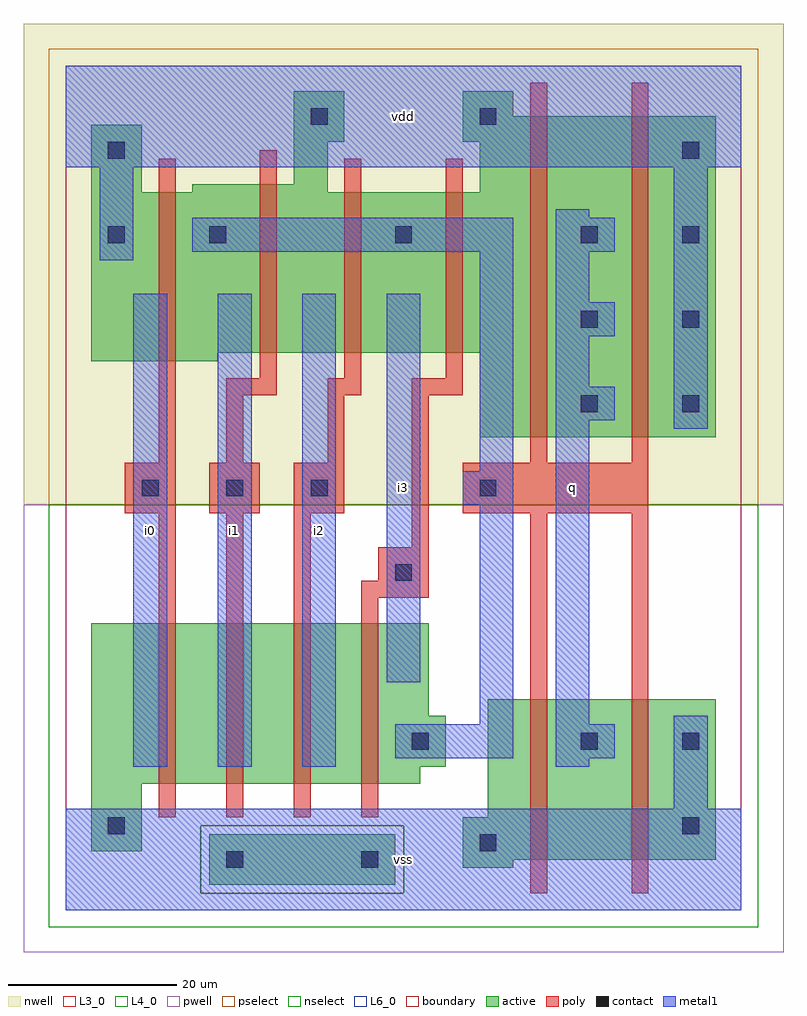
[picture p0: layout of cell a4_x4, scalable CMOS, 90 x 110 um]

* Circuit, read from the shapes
.subckt a4_x4 i0 i1 i2 i3 q vdd vss
M1 n1 i0 vss vss nfet w=19u l=2u
M2 n2 i1 n1 vss nfet w=19u l=2u
M3 n3 i2 n2 vss nfet w=19u l=2u
M4 n4 i3 n3 vss nfet w=19u l=2u
M5 q n4 vss vss nfet w=19u l=2u m=2
M6 n4 i0 vdd n5 pfet w=20u l=2u
M7 vdd i1 n4 n5 pfet w=20u l=2u
M8 n4 i2 vdd n5 pfet w=19u l=2u
M9 vdd i3 n4 n5 pfet w=19u l=2u
M10 q n4 vdd n5 pfet w=38u l=2u m=2
.ends

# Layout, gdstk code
import gdstk
lib = gdstk.Library(unit=1e-6, precision=1e-09)
def R(c, l, rs):  # rectangles x0, y0, x1, y1
    for r in rs: c.add(gdstk.rectangle(r[:2], r[2:], *l))
def A(c, l, x, y, w, h, nx, ny, dx, dy):  # array of equal rectangles
    R(c, l, [(x+i*dx, y+j*dy, x+i*dx+w, y+j*dy+h) for i in range(nx) for j in range(ny)])
L3_0 = (3, 0)
L4_0 = (4, 0)
L6_0 = (6, 0)
contact = (25, 0)
pwell = (41, 0)
nwell = (42, 0)
active = (43, 0)
pselect = (44, 0)
nselect = (45, 0)
poly = (46, 0)
metal1 = (49, 0)
boundary = (63, 0)

a4_x4 = lib.new_cell('a4_x4')
R(a4_x4, L3_0, [(47,5,53,6), (47,6,77,11), (3,7,9,15), (50,11,77,25), (3,15,42,17), (3,17,45,23), (3,23,43,34)])
R(a4_x4, L4_0, [(49,56,77,66), (3,65,18,66), (3,66,77,85), (3,85,9,93), (15,85,31,86), (49,85,77,91), (27,86,31,91), (27,91,33,97), (47,91,77,94), (47,94,53,97)])
R(a4_x4, L6_0, [(17,3,39,9)])
A(a4_x4, contact, 9, 49, 2, 2, 3, 1, 10, 0)
A(a4_x4, contact, 73, 59, 2, 2, 1, 4, 0, 10)
A(a4_x4, contact, 17, 79, 2, 2, 3, 1, 22, 0)
R(a4_x4, contact, [(19,5,21,7), (35,5,37,7), (49,7,51,9), (5,9,7,11), (73,9,75,11), (41,19,43,21), (61,19,63,21), (73,19,75,21), (39,39,41,41), (49,49,51,51), (61,59,63,61), (61,69,63,71), (5,79,7,81), (5,89,7,91), (29,93,31,95), (49,93,51,95)])
R(a4_x4, pwell, [(-5,-5,85,48)])
R(a4_x4, nwell, [(-5,48,85,105)])
R(a4_x4, active, [(17,3,39,9), (47,5,53,6), (47,6,77,11), (3,7,9,15), (50,11,77,25), (3,15,42,17), (3,17,45,23), (3,23,43,34), (49,56,77,66), (3,65,18,66), (3,66,77,85), (3,85,9,93), (15,85,31,86), (49,85,77,91), (27,86,31,91), (27,91,33,97), (47,91,77,94), (47,94,53,97)])
R(a4_x4, pselect, [(16,2,40,10), (-2,48,82,102)])
R(a4_x4, nselect, [(-2,-2,82,2), (-2,2,16,10), (40,2,82,10), (-2,10,82,48)])
A(a4_x4, poly, 11, 11, 2, 36, 3, 1, 8, 0)
A(a4_x4, poly, 7, 47, 6, 6, 3, 1, 10, 0)
R(a4_x4, poly, [(55,2,57,47), (67,2,69,47), (35,11,37,37), (35,37,43,39), (37,39,43,43), (41,43,43,61), (47,47,69,53), (11,53,13,89), (19,53,21,61), (31,53,33,61), (55,53,57,98), (67,53,69,98), (19,61,25,63), (31,61,35,63), (41,61,47,63), (23,63,25,90), (33,63,35,89), (45,63,47,89)])
A(a4_x4, metal1, 8, 17, 4, 56, 3, 1, 10, 0)
A(a4_x4, metal1, 58, 58, 7, 4, 1, 3, 0, 10)
R(a4_x4, metal1, [(0,0,80,12), (72,12,76,23), (58,17,62,18), (39,18,53,22), (58,18,65,22), (49,22,53,48), (58,22,62,58), (38,27,42,73), (47,48,53,52), (49,52,53,78), (72,57,76,88), (58,62,62,68), (58,72,62,78), (4,77,8,88), (15,78,53,82), (58,82,62,83), (0,88,80,100)])
R(a4_x4, boundary, [(0,0,80,100)])
a4_x4.add(gdstk.Label('i0', (10,45), layer=49, texttype=0))
a4_x4.add(gdstk.Label('i1', (20,45), layer=49, texttype=0))
a4_x4.add(gdstk.Label('i2', (30,45), layer=49, texttype=0))
a4_x4.add(gdstk.Label('vss', (40,6), layer=49, texttype=0))
a4_x4.add(gdstk.Label('i3', (40,50), layer=49, texttype=0))
a4_x4.add(gdstk.Label('vdd', (40,94), layer=49, texttype=0))
a4_x4.add(gdstk.Label('q', (60,50), layer=49, texttype=0))

lib.write_gds('a4_x4.gds')
